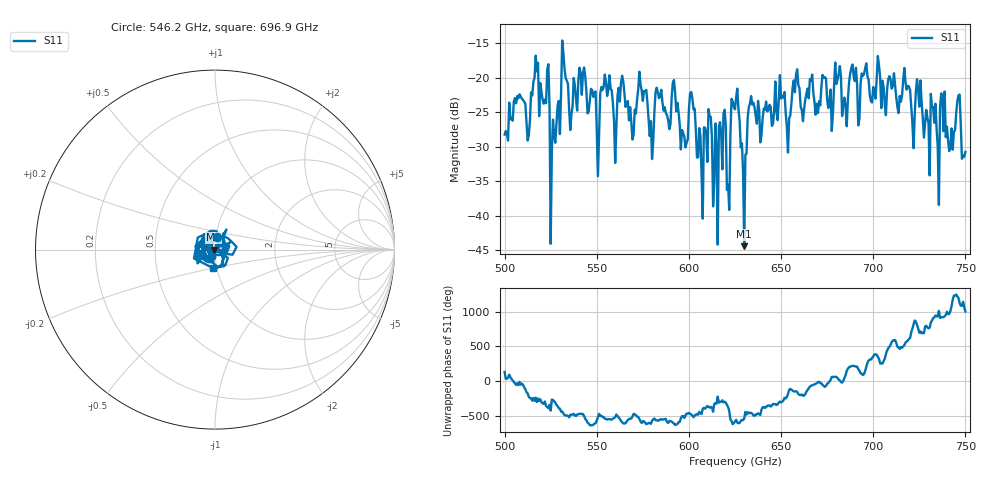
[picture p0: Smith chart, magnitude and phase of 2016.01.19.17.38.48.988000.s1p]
!Created with skrf (http://scikit-rf.org).
# GHz S RI R 50.0
!freq ReS11 ImS11
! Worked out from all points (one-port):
!   401 points, 500 GHz to 750 GHz, reference 50 ohm
!   lowest |S11| = -44.4 dB at 630 GHz (marker M1), VSWR 1.01, Z = 49.4 + j0.0322 ohm
!   |S11| at or under -10 dB: start of sweep to end of sweep
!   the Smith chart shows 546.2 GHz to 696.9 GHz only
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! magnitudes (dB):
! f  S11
! 500 GHz  -28.3
! 513.1 GHz  -28.4
! 516.9 GHz  -16.8
! 523.1 GHz  -18.8
! 526.2 GHz  -26.1
! 531.2 GHz  -14.6
! 550.6 GHz  -34.3
! 562.5 GHz  -23.5
! 574.4 GHz  -21.8
! 579.4 GHz  -26.3
! 583.1 GHz  -22.1
! 593.8 GHz  -23.6
! 598.1 GHz  -30.1
! 601.9 GHz  -23.0
! 606.2 GHz  -28.5
! 611.2 GHz  -25.5
! 614.4 GHz  -26.6
! 618.1 GHz  -33.3
! 621.2 GHz  -35.5
! 625 GHz  -24.6
! 630 GHz  -44.4
! 633.8 GHz  -22.7
! 656.2 GHz  -21.5
! 687.5 GHz  -19.4
! 718.8 GHz  -21.2
! 734.4 GHz  -27.4
! 746.2 GHz  -22.6
! 750 GHz  -30.8
